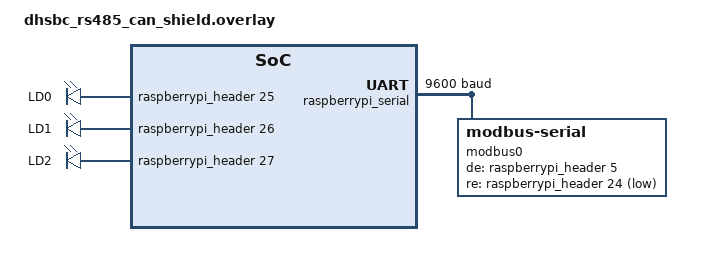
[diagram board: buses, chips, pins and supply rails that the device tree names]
/*
 * Copyright (C) 2026 DH electronics GmbH
 * SPDX-License-Identifier: Apache-2.0
 */

#include <zephyr/dt-bindings/gpio/gpio.h>

&raspberrypi_serial {
	status = "okay";
	current-speed = <9600>;

	modbus0: modbus0 {
		compatible = "zephyr,modbus-serial";
		status = "okay";
		de-gpios = <&raspberrypi_header 5 GPIO_ACTIVE_HIGH>;
		re-gpios = <&raspberrypi_header 24 GPIO_ACTIVE_LOW>;
	};
};

/*
 * CAN lines are not specified by the Raspberry Pi connector.
 * Therefore CAN transceiver nodes must be provided by each board-specific
 * overlay.
 */

/* The Modbus RTU server example expects three LEDs but this shield does not
 * have any. But the shield routes all Raspberry Pi pins to the outside so that
 * LEDs can be connected to pin headers.
 */
/ {
	leds {
		compatible = "gpio-leds";

		led_0: led_0 {
			gpios = <&raspberrypi_header 25 GPIO_ACTIVE_HIGH>;
			label = "LD0";
		};

		led_1: led_1 {
			gpios = <&raspberrypi_header 26 GPIO_ACTIVE_HIGH>;
			label = "LD1";
		};

		led_2: led_2 {
			gpios = <&raspberrypi_header 27 GPIO_ACTIVE_HIGH>;
			label = "LD2";
		};
	};

	aliases {
		led0 = &led_0;
		led1 = &led_1;
		led2 = &led_2;
	};
};
